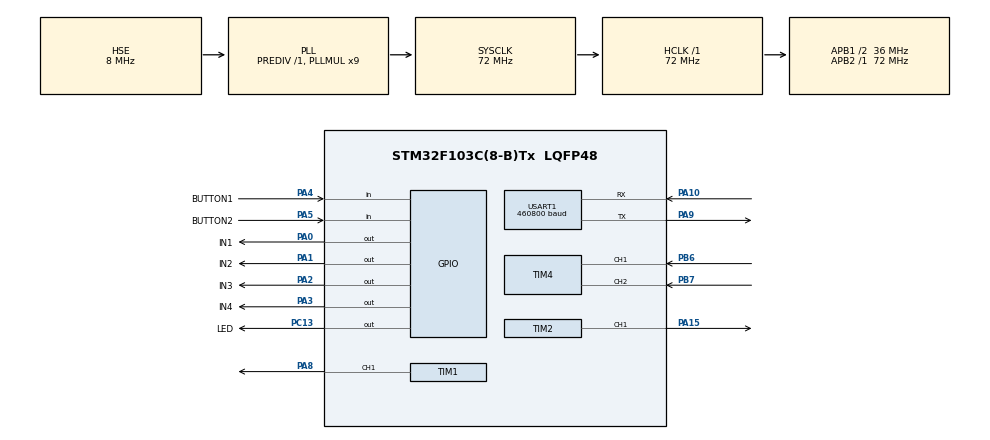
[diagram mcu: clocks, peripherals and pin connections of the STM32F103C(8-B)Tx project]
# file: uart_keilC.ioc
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Dma.Request0=USART1_RX
Dma.USART1_RX.0.Direction=DMA_PERIPH_TO_MEMORY
Dma.USART1_RX.0.Instance=DMA1_Channel5
Dma.USART1_RX.0.MemDataAlignment=DMA_MDATAALIGN_BYTE
Dma.USART1_RX.0.MemInc=DMA_MINC_ENABLE
Dma.USART1_RX.0.Mode=DMA_NORMAL
Dma.USART1_RX.0.PeriphDataAlignment=DMA_PDATAALIGN_BYTE
Dma.USART1_RX.0.PeriphInc=DMA_PINC_DISABLE
Dma.USART1_RX.0.Priority=DMA_PRIORITY_HIGH
Mcu.Family=STM32F1
Mcu.Name=STM32F103C(8-B)Tx
Mcu.Package=LQFP48
NVIC.DMA1_Channel5_IRQn=true\:0\:0\:false\:false\:true\:false\:true\:true
NVIC.PriorityGroup=NVIC_PRIORITYGROUP_4
NVIC.TIM2_IRQn=true\:0\:0\:true\:false\:true\:true\:true\:true
NVIC.USART1_IRQn=true\:1\:0\:true\:false\:true\:true\:true\:true
PA0-WKUP.GPIO_Label=IN1
PA0-WKUP.Signal=GPIO_Output
PA1.GPIO_Label=IN2
PA1.Signal=GPIO_Output
PA10.Mode=Asynchronous
PA10.Signal=USART1_RX
PA13.Mode=Serial_Wire
PA13.Signal=SYS_JTMS-SWDIO
PA14.Mode=Serial_Wire
PA14.Signal=SYS_JTCK-SWCLK
PA15.Signal=S_TIM2_CH1_ETR
PA2.GPIO_Label=IN3
PA2.Signal=GPIO_Output
PA3.GPIO_Label=IN4
PA3.Signal=GPIO_Output
PA4.GPIO_Label=BUTTON1
PA4.GPIO_PuPd=GPIO_PULLUP
PA4.Signal=GPIO_Input
PA5.GPIO_Label=BUTTON2
PA5.GPIO_PuPd=GPIO_PULLUP
PA5.Signal=GPIO_Input
PA8.Signal=S_TIM1_CH1
PA9.Mode=Asynchronous
PA9.Signal=USART1_TX
PB6.GPIO_PuPd=GPIO_PULLUP
PB6.Signal=S_TIM4_CH1
PB7.GPIO_PuPd=GPIO_PULLUP
PB7.Signal=S_TIM4_CH2
PC13-TAMPER-RTC.GPIO_Label=LED
PC13-TAMPER-RTC.Signal=GPIO_Output
PD0-OSC_IN.Mode=HSE-External-Oscillator
PD0-OSC_IN.Signal=RCC_OSC_IN
PD1-OSC_OUT.Mode=HSE-External-Oscillator
PD1-OSC_OUT.Signal=RCC_OSC_OUT
ProjectManager.HeapSize=0x200
ProjectManager.StackSize=0x400
ProjectManager.TargetToolchain=MDK-ARM V5.32
RCC.AHBFreq_Value=72000000
RCC.APB1CLKDivider=RCC_HCLK_DIV2
RCC.APB1Freq_Value=36000000
RCC.APB1TimFreq_Value=72000000
RCC.APB2Freq_Value=72000000
RCC.APB2TimFreq_Value=72000000
RCC.HCLKFreq_Value=72000000
RCC.PLLMUL=RCC_PLL_MUL9
RCC.PLLSourceVirtual=RCC_PLLSOURCE_HSE
RCC.SYSCLKFreq_VALUE=72000000
RCC.SYSCLKSource=RCC_SYSCLKSOURCE_PLLCLK
RCC.USBFreq_Value=72000000
SH.S_TIM1_CH1.0=TIM1_CH1,PWM Generation1 CH1
SH.S_TIM2_CH1_ETR.0=TIM2_CH1,PWM Generation1 CH1
SH.S_TIM4_CH1.0=TIM4_CH1,Encoder_Interface
SH.S_TIM4_CH2.0=TIM4_CH2,Encoder_Interface
TIM1.Channel-PWM\ Generation1\ CH1=TIM_CHANNEL_1
TIM1.Period=999
TIM1.Prescaler=1439
TIM2.Channel-PWM\ Generation1\ CH1=TIM_CHANNEL_1
TIM2.Period=999
TIM2.Prescaler=1439
TIM4.EncoderMode=TIM_ENCODERMODE_TI12
USART1.BaudRate=460800
USART1.VirtualMode=VM_ASYNC
VP_TIM1_VS_ClockSourceINT.Mode=Internal
VP_TIM2_VS_ClockSourceINT.Mode=Internal
board=custom

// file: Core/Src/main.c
/* USER CODE BEGIN Header */
/**
  ******************************************************************************
  * @file           : main.c
  * @brief          : Main program body
  ******************************************************************************
  * @attention
  *
  * Copyright (c) 2024 STMicroelectronics.
  * All rights reserved.
  *
  * This software is licensed under terms that can be found in the LICENSE file
  * in the root directory of this software component.
  * If no LICENSE file comes with this software, it is provided AS-IS.
  *
  ******************************************************************************
  */
/* USER CODE END Header */
#include "main.h"

/* USER CODE BEGIN Includes */
#include <stdio.h>
#include <stdlib.h>
#include <string.h>
#include <math.h>
/* USER CODE END Includes */

TIM_HandleTypeDef htim1;
TIM_HandleTypeDef htim2;
TIM_HandleTypeDef htim4;

UART_HandleTypeDef huart1;
DMA_HandleTypeDef hdma_usart1_rx;

/* USER CODE BEGIN PV */
//Vehicle Parameters
const float TRACK = 0.198f;
const float WHEELBASE = 0.26f;

// UART RX Buffers
#define RX_BUFFER_SIZE 40
char rx_buffer[RX_BUFFER_SIZE] = {0};
char temp_buffer[RX_BUFFER_SIZE] = {0};
char data[RX_BUFFER_SIZE];

volatile uint8_t is_data_ready = 0;
volatile size_t rx_index = 0;
volatile uint8_t rx_char = 0;

// Steering / Motion
float angle_rad = 0.0f;
float angle_deg = 0.0f;
float angle = 0.0f;
float speed = 0.0f;

// Encoder
volatile int16_t encoder_count = 0;
volatile int16_t encoder_pre = 0;
volatile int16_t encoder_speed = 0;

// Wheel Control
float pulse_length = 0;

// System status
int status =0;
int pwm_output;
int counter = 5;
int counter_flag = 0;
double joint_speed = 0.0;
double wheel_position = 0.0;
/* USER CODE END PV */

void SystemClock_Config(void);
static void MX_GPIO_Init(void);
static void MX_DMA_Init(void);
static void MX_TIM1_Init(void);
static void MX_USART1_UART_Init(void);
static void MX_TIM2_Init(void);
static void MX_TIM4_Init(void);

/* USER CODE BEGIN 0 */
// Set rear wheel motor speed
void set_DC_speed(float SPEED){
  int target_pwm = SPEED *999/22.222;
	if(target_pwm > 999) target_pwm = 999;
	if(target_pwm < 500) target_pwm = 500;
  pwm_output = target_pwm;
  __HAL_TIM_SET_COMPARE(&htim2, TIM_CHANNEL_1, pwm_output);
}

// Send speed and steering angle to Raspberry Pi board
void send_vehicle_command(float steering, double encoder) {
	HAL_GPIO_TogglePin(LED_GPIO_Port, LED_Pin);
  snprintf(data, sizeof(data), "%.3f;%.3f\n", steering, encoder);
  HAL_UART_Transmit(&huart1, (uint8_t*)data, strlen(data),20);
	memset(data, 0, sizeof(data));
}

// Handle timer
void HAL_TIM_PeriodElapsedCallback(TIM_HandleTypeDef *htim){
	if (htim->Instance == TIM2){
		if (counter > 0){
			counter--;
		if (counter <= 0){
			counter = 5;
			counter_flag = 1;
			}
		}
	}
}

// Set steering angle to servo motor
void set_servo_position(float position) {
	if(position == 0){
		angle_deg = 0;
	}
	else{
		float inner_position = atan(1.0f / ((1.0f / tan(position)) - TRACK / (2.0f * WHEELBASE)));
		angle_deg = inner_position * (180.0 / 3.14159);
	}
  if (angle_deg < -26.5) angle_deg = -26.5;
  if (angle_deg > 35) angle_deg = 35;
	if (angle_deg == 0) {
		pulse_length = 80.0f;
	}
	else if(angle_deg < 0){
		pulse_length = angle_deg*-15.0f/26.5f+80.0f;
	}
	else if(angle_deg >0){
		pulse_length = angle_deg*-0.3f+80.0f;
	}
  htim1.Instance->CCR1 = 150 - pulse_length;
}

// Handle lift truck state
void lift_truck(int state){
	switch(state){
		case 2:
			HAL_GPIO_WritePin(IN3_GPIO_Port, IN3_Pin, GPIO_PIN_SET);
			HAL_GPIO_WritePin(IN4_GPIO_Port, IN4_Pin, GPIO_PIN_RESET);
			break;
		case 3:
			HAL_GPIO_WritePin(IN3_GPIO_Port, IN3_Pin, GPIO_PIN_RESET);
			HAL_GPIO_WritePin(IN4_GPIO_Port, IN4_Pin, GPIO_PIN_SET);
			break;
		default: break;
	}

}

void HAL_UART_RxCpltCallback(UART_HandleTypeDef *huart) {
	if (huart->Instance == USART1) {
    rx_buffer[rx_index++] = rx_char;

    if (rx_char == '\n') {
      is_data_ready = 1;
      rx_index = 0;
    }
    HAL_UART_Receive_DMA(&huart1, &rx_char, 1);
  }
}

// Set the rear wheel motor speed and direction of rotation
void set_motor_speed(float joint_speed) {
	if (speed > 0) {
		HAL_GPIO_WritePin(IN1_GPIO_Port, IN1_Pin, GPIO_PIN_SET);
		HAL_GPIO_WritePin(IN2_GPIO_Port, IN2_Pin, GPIO_PIN_RESET);
		set_DC_speed(speed);

  } else if (speed < 0) {
		HAL_GPIO_WritePin(IN1_GPIO_Port, IN1_Pin, GPIO_PIN_RESET);
		HAL_GPIO_WritePin(IN2_GPIO_Port, IN2_Pin, GPIO_PIN_SET);
		set_DC_speed(fabs(speed));

  } else if (speed == 0) {
		HAL_GPIO_WritePin(IN1_GPIO_Port, IN1_Pin, GPIO_PIN_SET);
		HAL_GPIO_WritePin(IN2_GPIO_Port, IN2_Pin, GPIO_PIN_SET);
  }
}

/* USER CODE END 0 */

int main(void)
{

  /* MCU Configuration--------------------------------------------------------*/

  /* Reset of all peripherals, Initializes the Flash interface and the Systick. */
  HAL_Init();

  /* Configure the system clock */
  SystemClock_Config();

  /* Initialize all configured peripherals */
  MX_GPIO_Init();
  MX_DMA_Init();
  MX_TIM1_Init();
  MX_USART1_UART_Init();
  MX_TIM2_Init();
  MX_TIM4_Init();
  /* USER CODE BEGIN 2 */

  memset(rx_buffer, 0, sizeof(rx_buffer));
  memset(temp_buffer, 0, sizeof(temp_buffer));
	memset(data, 0, sizeof(data));

  HAL_UART_Receive_DMA(&huart1, &rx_char, 1);
	HAL_TIM_PWM_Start(&htim1, TIM_CHANNEL_1);
	HAL_TIM_PWM_Start(&htim2, TIM_CHANNEL_1);
	HAL_TIM_Encoder_Start(&htim4,TIM_CHANNEL_1 | TIM_CHANNEL_2);
	HAL_TIM_Base_Start_IT(&htim2);

  set_servo_position(0);
	set_motor_speed(0);
	send_vehicle_command(angle_rad,wheel_position);

  /* USER CODE END 2 */

  /* Infinite loop */
  /* USER CODE BEGIN WHILE */
  while (1)
  {
    // Handle encoder value
		if(counter_flag){
			counter_flag = 0;
			encoder_count = __HAL_TIM_GET_COUNTER(&htim4);
			joint_speed = encoder_count - encoder_pre;
      // Overflow handling
			if (joint_speed > 32767) {
        joint_speed -= 65536;
			} else if (joint_speed < -32768) {
        joint_speed += 65536;
			}
			encoder_pre = encoder_count;
			wheel_position += joint_speed*2*3.14159/(436*2.6);
			send_vehicle_command(angle_rad, wheel_position);
		}

    // Processing signals from the self-activating button on the truck bed
		if(HAL_GPIO_ReadPin(BUTTON1_GPIO_Port, BUTTON1_Pin) == 0){
      if(status == 3){
        HAL_GPIO_WritePin(IN3_GPIO_Port, IN3_Pin, GPIO_PIN_SET);
        HAL_GPIO_WritePin(IN4_GPIO_Port, IN4_Pin, GPIO_PIN_SET);
      }
      if(status == 2){
        lift_truck(status);
      }
		}
    else if(HAL_GPIO_ReadPin(BUTTON2_GPIO_Port, BUTTON2_Pin) == 0){
      if(status == 2){
        HAL_GPIO_WritePin(IN3_GPIO_Port, IN3_Pin, GPIO_PIN_SET);
        HAL_GPIO_WritePin(IN4_GPIO_Port, IN4_Pin, GPIO_PIN_SET);
      }
      if(status == 3){
        lift_truck(status);
      }
    }

    // Processing signals received from UART
		if (is_data_ready) {
      is_data_ready = 0;
      strncpy(temp_buffer, rx_buffer, sizeof(temp_buffer) - 1);
			memset(rx_buffer, 0, sizeof(rx_buffer));
      char *start = temp_buffer;
      char *end = strchr(start, '\n');

      while (end != NULL) {
        *end = '\0';

        // Speed and steering angle control signals
        if (sscanf(start, "%f;%f", &angle_rad, &speed) == 2) {
          if (angle_rad >= -0.6 && angle_rad <= 0.6){
							set_servo_position(angle_rad);
							set_motor_speed(speed);
							angle = angle_rad;
					}
        }

        // Control signal for raising and lowering the truck bed
				else if (sscanf(start, "%d", &status) == 1) {
					lift_truck(status);
				}

        start = end + 1;
        end = strchr(start, '\n');
      }
    }

    /* USER CODE END WHILE */

  }
}

void SystemClock_Config(void)
{
  RCC_OscInitTypeDef RCC_OscInitStruct = {0};
  RCC_ClkInitTypeDef RCC_ClkInitStruct = {0};

  /** Initializes the RCC Oscillators according to the specified parameters
  * in the RCC_OscInitTypeDef structure.
  */
  RCC_OscInitStruct.OscillatorType = RCC_OSCILLATORTYPE_HSE;
  RCC_OscInitStruct.HSEState = RCC_HSE_ON;
  RCC_OscInitStruct.HSEPredivValue = RCC_HSE_PREDIV_DIV1;
  RCC_OscInitStruct.HSIState = RCC_HSI_ON;
  RCC_OscInitStruct.PLL.PLLState = RCC_PLL_ON;
  RCC_OscInitStruct.PLL.PLLSource = RCC_PLLSOURCE_HSE;
  RCC_OscInitStruct.PLL.PLLMUL = RCC_PLL_MUL9;
  if (HAL_RCC_OscConfig(&RCC_OscInitStruct) != HAL_OK)
  {
    Error_Handler();
  }

  /** Initializes the CPU, AHB and APB buses clocks
  */
  RCC_ClkInitStruct.ClockType = RCC_CLOCKTYPE_HCLK|RCC_CLOCKTYPE_SYSCLK
                              |RCC_CLOCKTYPE_PCLK1|RCC_CLOCKTYPE_PCLK2;
  RCC_ClkInitStruct.SYSCLKSource = RCC_SYSCLKSOURCE_PLLCLK;
  RCC_ClkInitStruct.AHBCLKDivider = RCC_SYSCLK_DIV1;
  RCC_ClkInitStruct.APB1CLKDivider = RCC_HCLK_DIV2;
  RCC_ClkInitStruct.APB2CLKDivider = RCC_HCLK_DIV1;

  if (HAL_RCC_ClockConfig(&RCC_ClkInitStruct, FLASH_LATENCY_2) != HAL_OK)
  {
    Error_Handler();
  }
}

static void MX_TIM1_Init(void)
{

  TIM_ClockConfigTypeDef sClockSourceConfig = {0};
  TIM_MasterConfigTypeDef sMasterConfig = {0};
  TIM_OC_InitTypeDef sConfigOC = {0};
  TIM_BreakDeadTimeConfigTypeDef sBreakDeadTimeConfig = {0};

  htim1.Instance = TIM1;
  htim1.Init.Prescaler = 1439;
  htim1.Init.CounterMode = TIM_COUNTERMODE_UP;
  htim1.Init.Period = 999;
  htim1.Init.ClockDivision = TIM_CLOCKDIVISION_DIV1;
  htim1.Init.RepetitionCounter = 0;
  htim1.Init.AutoReloadPreload = TIM_AUTORELOAD_PRELOAD_DISABLE;
  if (HAL_TIM_Base_Init(&htim1) != HAL_OK)
  {
    Error_Handler();
  }
  sClockSourceConfig.ClockSource = TIM_CLOCKSOURCE_INTERNAL;
  if (HAL_TIM_ConfigClockSource(&htim1, &sClockSourceConfig) != HAL_OK)
  {
    Error_Handler();
  }
  if (HAL_TIM_PWM_Init(&htim1) != HAL_OK)
  {
    Error_Handler();
  }
  sMasterConfig.MasterOutputTrigger = TIM_TRGO_RESET;
  sMasterConfig.MasterSlaveMode = TIM_MASTERSLAVEMODE_DISABLE;
  if (HAL_TIMEx_MasterConfigSynchronization(&htim1, &sMasterConfig) != HAL_OK)
  {
    Error_Handler();
  }
  sConfigOC.OCMode = TIM_OCMODE_PWM1;
  sConfigOC.Pulse = 0;
  sConfigOC.OCPolarity = TIM_OCPOLARITY_HIGH;
  sConfigOC.OCNPolarity = TIM_OCNPOLARITY_HIGH;
  sConfigOC.OCFastMode = TIM_OCFAST_DISABLE;
  sConfigOC.OCIdleState = TIM_OCIDLESTATE_RESET;
  sConfigOC.OCNIdleState = TIM_OCNIDLESTATE_RESET;
  if (HAL_TIM_PWM_ConfigChannel(&htim1, &sConfigOC, TIM_CHANNEL_1) != HAL_OK)
  {
    Error_Handler();
  }
  sBreakDeadTimeConfig.OffStateRunMode = TIM_OSSR_DISABLE;
  sBreakDeadTimeConfig.OffStateIDLEMode = TIM_OSSI_DISABLE;
  sBreakDeadTimeConfig.LockLevel = TIM_LOCKLEVEL_OFF;
  sBreakDeadTimeConfig.DeadTime = 0;
  sBreakDeadTimeConfig.BreakState = TIM_BREAK_DISABLE;
  sBreakDeadTimeConfig.BreakPolarity = TIM_BREAKPOLARITY_HIGH;
  sBreakDeadTimeConfig.AutomaticOutput = TIM_AUTOMATICOUTPUT_DISABLE;
  if (HAL_TIMEx_ConfigBreakDeadTime(&htim1, &sBreakDeadTimeConfig) != HAL_OK)
  {
    Error_Handler();
  }
  HAL_TIM_MspPostInit(&htim1);

}

static void MX_TIM2_Init(void)
{

  TIM_ClockConfigTypeDef sClockSourceConfig = {0};
  TIM_MasterConfigTypeDef sMasterConfig = {0};
  TIM_OC_InitTypeDef sConfigOC = {0};

  htim2.Instance = TIM2;
  htim2.Init.Prescaler = 1439;
  htim2.Init.CounterMode = TIM_COUNTERMODE_UP;
  htim2.Init.Period = 999;
  htim2.Init.ClockDivision = TIM_CLOCKDIVISION_DIV1;
  htim2.Init.AutoReloadPreload = TIM_AUTORELOAD_PRELOAD_DISABLE;
  if (HAL_TIM_Base_Init(&htim2) != HAL_OK)
  {
    Error_Handler();
  }
  sClockSourceConfig.ClockSource = TIM_CLOCKSOURCE_INTERNAL;
  if (HAL_TIM_ConfigClockSource(&htim2, &sClockSourceConfig) != HAL_OK)
  {
    Error_Handler();
  }
  if (HAL_TIM_PWM_Init(&htim2) != HAL_OK)
  {
    Error_Handler();
  }
  sMasterConfig.MasterOutputTrigger = TIM_TRGO_RESET;
  sMasterConfig.MasterSlaveMode = TIM_MASTERSLAVEMODE_DISABLE;
  if (HAL_TIMEx_MasterConfigSynchronization(&htim2, &sMasterConfig) != HAL_OK)
  {
    Error_Handler();
  }
  sConfigOC.OCMode = TIM_OCMODE_PWM1;
  sConfigOC.Pulse = 0;
  sConfigOC.OCPolarity = TIM_OCPOLARITY_HIGH;
  sConfigOC.OCFastMode = TIM_OCFAST_DISABLE;
  if (HAL_TIM_PWM_ConfigChannel(&htim2, &sConfigOC, TIM_CHANNEL_1) != HAL_OK)
  {
    Error_Handler();
  }
  HAL_TIM_MspPostInit(&htim2);

}

static void MX_TIM4_Init(void)
{

  TIM_Encoder_InitTypeDef sConfig = {0};
  TIM_MasterConfigTypeDef sMasterConfig = {0};

  htim4.Instance = TIM4;
  htim4.Init.Prescaler = 0;
  htim4.Init.CounterMode = TIM_COUNTERMODE_UP;
  htim4.Init.Period = 65535;
  htim4.Init.ClockDivision = TIM_CLOCKDIVISION_DIV1;
  htim4.Init.AutoReloadPreload = TIM_AUTORELOAD_PRELOAD_DISABLE;
  sConfig.EncoderMode = TIM_ENCODERMODE_TI12;
  sConfig.IC1Polarity = TIM_ICPOLARITY_RISING;
  sConfig.IC1Selection = TIM_ICSELECTION_DIRECTTI;
  sConfig.IC1Prescaler = TIM_ICPSC_DIV1;
  sConfig.IC1Filter = 0;
  sConfig.IC2Polarity = TIM_ICPOLARITY_RISING;
  sConfig.IC2Selection = TIM_ICSELECTION_DIRECTTI;
  sConfig.IC2Prescaler = TIM_ICPSC_DIV1;
  sConfig.IC2Filter = 0;
  if (HAL_TIM_Encoder_Init(&htim4, &sConfig) != HAL_OK)
  {
    Error_Handler();
  }
  sMasterConfig.MasterOutputTrigger = TIM_TRGO_RESET;
  sMasterConfig.MasterSlaveMode = TIM_MASTERSLAVEMODE_DISABLE;
  if (HAL_TIMEx_MasterConfigSynchronization(&htim4, &sMasterConfig) != HAL_OK)
  {
    Error_Handler();
  }

}

static void MX_USART1_UART_Init(void)
{

  huart1.Instance = USART1;
  huart1.Init.BaudRate = 460800;
  huart1.Init.WordLength = UART_WORDLENGTH_8B;
  huart1.Init.StopBits = UART_STOPBITS_1;
  huart1.Init.Parity = UART_PARITY_NONE;
  huart1.Init.Mode = UART_MODE_TX_RX;
  huart1.Init.HwFlowCtl = UART_HWCONTROL_NONE;
  huart1.Init.OverSampling = UART_OVERSAMPLING_16;
  if (HAL_UART_Init(&huart1) != HAL_OK)
  {
    Error_Handler();
  }

}

static void MX_DMA_Init(void)
{

  /* DMA controller clock enable */
  __HAL_RCC_DMA1_CLK_ENABLE();

  /* DMA interrupt init */
  /* DMA1_Channel5_IRQn interrupt configuration */
  HAL_NVIC_SetPriority(DMA1_Channel5_IRQn, 0, 0);
  HAL_NVIC_EnableIRQ(DMA1_Channel5_IRQn);

}

static void MX_GPIO_Init(void)
{
  GPIO_InitTypeDef GPIO_InitStruct = {0};

  /* GPIO Ports Clock Enable */
  __HAL_RCC_GPIOC_CLK_ENABLE();
  __HAL_RCC_GPIOD_CLK_ENABLE();
  __HAL_RCC_GPIOA_CLK_ENABLE();
  __HAL_RCC_GPIOB_CLK_ENABLE();

  /*Configure GPIO pin Output Level */
  HAL_GPIO_WritePin(LED_GPIO_Port, LED_Pin, GPIO_PIN_RESET);

  /*Configure GPIO pin Output Level */
  HAL_GPIO_WritePin(GPIOA, IN1_Pin|IN2_Pin|IN3_Pin|IN4_Pin, GPIO_PIN_RESET);

  /*Configure GPIO pin : LED_Pin */
  GPIO_InitStruct.Pin = LED_Pin;
  GPIO_InitStruct.Mode = GPIO_MODE_OUTPUT_PP;
  GPIO_InitStruct.Pull = GPIO_NOPULL;
  GPIO_InitStruct.Speed = GPIO_SPEED_FREQ_LOW;
  HAL_GPIO_Init(LED_GPIO_Port, &GPIO_InitStruct);

  /*Configure GPIO pins : IN1_Pin IN2_Pin IN3_Pin IN4_Pin */
  GPIO_InitStruct.Pin = IN1_Pin|IN2_Pin|IN3_Pin|IN4_Pin;
  GPIO_InitStruct.Mode = GPIO_MODE_OUTPUT_PP;
  GPIO_InitStruct.Pull = GPIO_NOPULL;
  GPIO_InitStruct.Speed = GPIO_SPEED_FREQ_LOW;
  HAL_GPIO_Init(GPIOA, &GPIO_InitStruct);

  /*Configure GPIO pins : BUTTON1_Pin BUTTON2_Pin */
  GPIO_InitStruct.Pin = BUTTON1_Pin|BUTTON2_Pin;
  GPIO_InitStruct.Mode = GPIO_MODE_INPUT;
  GPIO_InitStruct.Pull = GPIO_PULLUP;
  HAL_GPIO_Init(GPIOA, &GPIO_InitStruct);

}

void Error_Handler(void)
{
  __disable_irq();
  while (1)
  {
  }
}
